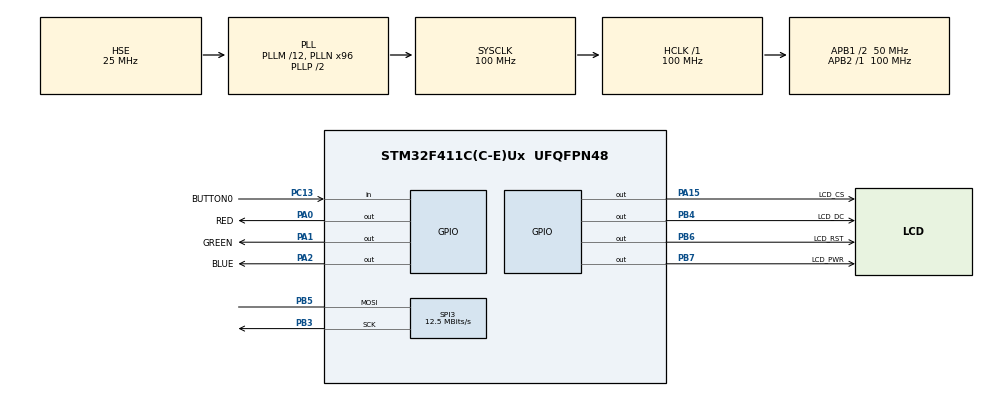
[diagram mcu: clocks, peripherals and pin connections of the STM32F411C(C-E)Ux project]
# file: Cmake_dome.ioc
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FREERTOS.Tasks01=defaultTask,24,128,StartDefaultTask,Default,NULL,Dynamic,NULL,NULL;RGBTask,8,128,RGB_StartTask,Default,NULL,Dynamic,NULL,NULL;LCDTask,8,512,LCD_StartTask,Default,NULL,Dynamic,NULL,NULL
FREERTOS.configENABLE_FPU=1
FREERTOS.configGENERATE_RUN_TIME_STATS=1
FREERTOS.configRECORD_STACK_HIGH_ADDRESS=1
FREERTOS.configUSE_STATS_FORMATTING_FUNCTIONS=1
FREERTOS.configUSE_TICK_HOOK=1
Mcu.Family=STM32F4
Mcu.Name=STM32F411C(C-E)Ux
Mcu.Package=UFQFPN48
NVIC.PriorityGroup=NVIC_PRIORITYGROUP_4
NVIC.TIM1_UP_TIM10_IRQn=true\:15\:0\:false\:false\:true\:false\:false\:true\:true
NVIC.TimeBase=TIM1_UP_TIM10_IRQn
NVIC.TimeBaseIP=TIM1
PA0-WKUP.GPIO_Label=RED
PA0-WKUP.GPIO_PuPd=GPIO_PULLUP
PA0-WKUP.PinState=GPIO_PIN_SET
PA0-WKUP.Signal=GPIO_Output
PA1.GPIO_Label=GREEN
PA1.GPIO_PuPd=GPIO_PULLUP
PA1.PinState=GPIO_PIN_SET
PA1.Signal=GPIO_Output
PA13.Mode=Serial_Wire
PA13.Signal=SYS_JTMS-SWDIO
PA14.Mode=Serial_Wire
PA14.Signal=SYS_JTCK-SWCLK
PA15.GPIO_Label=LCD_CS
PA15.GPIO_PuPd=GPIO_PULLUP
PA15.GPIO_Speed=GPIO_SPEED_FREQ_VERY_HIGH
PA15.Signal=GPIO_Output
PA2.GPIO_Label=BLUE
PA2.GPIO_PuPd=GPIO_PULLUP
PA2.PinState=GPIO_PIN_SET
PA2.Signal=GPIO_Output
PB3.GPIO_PuPd=GPIO_PULLUP
PB3.Mode=Simplex_Bidirectional_Master
PB3.Signal=SPI3_SCK
PB4.GPIO_Label=LCD_DC
PB4.GPIO_PuPd=GPIO_PULLUP
PB4.GPIO_Speed=GPIO_SPEED_FREQ_VERY_HIGH
PB4.Signal=GPIO_Output
PB5.GPIO_PuPd=GPIO_PULLUP
PB5.Mode=Simplex_Bidirectional_Master
PB5.Signal=SPI3_MOSI
PB6.GPIO_Label=LCD_RST
PB6.GPIO_PuPd=GPIO_PULLUP
PB6.GPIO_Speed=GPIO_SPEED_FREQ_VERY_HIGH
PB6.Signal=GPIO_Output
PB7.GPIO_Label=LCD_PWR
PB7.GPIO_PuPd=GPIO_PULLUP
PB7.GPIO_Speed=GPIO_SPEED_FREQ_VERY_HIGH
PB7.Signal=GPIO_Output
PC13-ANTI_TAMP.GPIO_Label=BUTTON0
PC13-ANTI_TAMP.GPIO_PuPd=GPIO_PULLUP
PC13-ANTI_TAMP.Signal=GPIO_Input
PH0\ -\ OSC_IN.Mode=HSE-External-Oscillator
PH0\ -\ OSC_IN.Signal=RCC_OSC_IN
PH1\ -\ OSC_OUT.Mode=HSE-External-Oscillator
PH1\ -\ OSC_OUT.Signal=RCC_OSC_OUT
ProjectManager.HeapSize=0x200
ProjectManager.StackSize=0x400
ProjectManager.TargetToolchain=CMake
RCC.48MHZClocksFreq_Value=50000000
RCC.AHBFreq_Value=100000000
RCC.APB1CLKDivider=RCC_HCLK_DIV2
RCC.APB1Freq_Value=50000000
RCC.APB1TimFreq_Value=100000000
RCC.APB2Freq_Value=100000000
RCC.APB2TimFreq_Value=100000000
RCC.CortexFreq_Value=100000000
RCC.HCLKFreq_Value=100000000
RCC.HSE_VALUE=25000000
RCC.HSI_VALUE=16000000
RCC.PLLM=12
RCC.PLLN=96
RCC.PLLSourceVirtual=RCC_PLLSOURCE_HSE
RCC.SYSCLKFreq_VALUE=100000000
RCC.SYSCLKSource=RCC_SYSCLKSOURCE_PLLCLK
RCC.VCOOutputFreq_Value=200000000
SPI3.BaudRatePrescaler=SPI_BAUDRATEPRESCALER_4
SPI3.CLKPhase=SPI_PHASE_2EDGE
SPI3.CLKPolarity=SPI_POLARITY_HIGH
SPI3.CalculateBaudRate=12.5 MBits/s
SPI3.Direction=SPI_DIRECTION_1LINE
SPI3.Mode=SPI_MODE_MASTER
SPI3.VirtualType=VM_MASTER
VP_FREERTOS_VS_CMSIS_V2.Mode=CMSIS_V2
VP_SYS_VS_tim1.Mode=TIM1
board=custom

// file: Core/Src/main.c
/* USER CODE BEGIN Header */
/**
  ******************************************************************************
  * @file           : main.c
  * @brief          : Main program body
  ******************************************************************************
  * @attention
  *
  * Copyright (c) 2026 STMicroelectronics.
  * All rights reserved.
  *
  * This software is licensed under terms that can be found in the LICENSE file
  * in the root directory of this software component.
  * If no LICENSE file comes with this software, it is provided AS-IS.
  *
  ******************************************************************************
  */
/* USER CODE END Header */
#include "main.h"
#include "cmsis_os.h"
#include "spi.h"
#include "gpio.h"

void SystemClock_Config(void);
void MX_FREERTOS_Init(void);

int main(void)
{

  /* MCU Configuration--------------------------------------------------------*/

  /* Reset of all peripherals, Initializes the Flash interface and the Systick. */
  HAL_Init();

  /* Configure the system clock */
  SystemClock_Config();

  /* Initialize all configured peripherals */
  MX_GPIO_Init();
  MX_SPI3_Init();

  /* Init scheduler */
  osKernelInitialize();  /* Call init function for freertos objects (in cmsis_os2.c) */
  MX_FREERTOS_Init();

  /* Start scheduler */
  osKernelStart();

  /* We should never get here as control is now taken by the scheduler */

  /* Infinite loop */
  while (1)
  {

  }
}

void SystemClock_Config(void)
{
  RCC_OscInitTypeDef RCC_OscInitStruct = {0};
  RCC_ClkInitTypeDef RCC_ClkInitStruct = {0};

  /** Configure the main internal regulator output voltage
  */
  __HAL_RCC_PWR_CLK_ENABLE();
  __HAL_PWR_VOLTAGESCALING_CONFIG(PWR_REGULATOR_VOLTAGE_SCALE1);

  /** Initializes the RCC Oscillators according to the specified parameters
  * in the RCC_OscInitTypeDef structure.
  */
  RCC_OscInitStruct.OscillatorType = RCC_OSCILLATORTYPE_HSE;
  RCC_OscInitStruct.HSEState = RCC_HSE_ON;
  RCC_OscInitStruct.PLL.PLLState = RCC_PLL_ON;
  RCC_OscInitStruct.PLL.PLLSource = RCC_PLLSOURCE_HSE;
  RCC_OscInitStruct.PLL.PLLM = 12;
  RCC_OscInitStruct.PLL.PLLN = 96;
  RCC_OscInitStruct.PLL.PLLP = RCC_PLLP_DIV2;
  RCC_OscInitStruct.PLL.PLLQ = 4;
  if (HAL_RCC_OscConfig(&RCC_OscInitStruct) != HAL_OK)
  {
    Error_Handler();
  }

  /** Initializes the CPU, AHB and APB buses clocks
  */
  RCC_ClkInitStruct.ClockType = RCC_CLOCKTYPE_HCLK|RCC_CLOCKTYPE_SYSCLK
                              |RCC_CLOCKTYPE_PCLK1|RCC_CLOCKTYPE_PCLK2;
  RCC_ClkInitStruct.SYSCLKSource = RCC_SYSCLKSOURCE_PLLCLK;
  RCC_ClkInitStruct.AHBCLKDivider = RCC_SYSCLK_DIV1;
  RCC_ClkInitStruct.APB1CLKDivider = RCC_HCLK_DIV2;
  RCC_ClkInitStruct.APB2CLKDivider = RCC_HCLK_DIV1;

  if (HAL_RCC_ClockConfig(&RCC_ClkInitStruct, FLASH_LATENCY_3) != HAL_OK)
  {
    Error_Handler();
  }
}

void HAL_TIM_PeriodElapsedCallback(TIM_HandleTypeDef *htim)
{
  if (htim->Instance == TIM1)
  {
    HAL_IncTick();
  }
}

void Error_Handler(void)
{
  __disable_irq();
  while (1)
  {
  }
}

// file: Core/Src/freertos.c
/* USER CODE BEGIN Header */
/**
  ******************************************************************************
  * File Name          : freertos.c
  * Description        : Code for freertos applications
  ******************************************************************************
  * @attention
  *
  * Copyright (c) 2026 STMicroelectronics.
  * All rights reserved.
  *
  * This software is licensed under terms that can be found in the LICENSE file
  * in the root directory of this software component.
  * If no LICENSE file comes with this software, it is provided AS-IS.
  *
  ******************************************************************************
  */
/* USER CODE END Header */

#include "FreeRTOS.h"
#include "task.h"
#include "main.h"
#include "cmsis_os.h"

/* USER CODE BEGIN Includes */
#include "RGB.h"
#include "lcd.h"
#include "lcd_anim.h"
/* USER CODE END Includes */

/* USER CODE BEGIN PTD */
extern SPI_HandleTypeDef hspi3;
/* USER CODE END PTD */

/* USER CODE BEGIN Variables */
static uint16_t line_buffer[240];

lcd_io lcd_io_desc = {
    .spi = &hspi3,
    .rst = {LCD_RST_GPIO_Port, LCD_RST_Pin, 0},
    .bl  = {LCD_PWR_GPIO_Port, LCD_PWR_Pin, 0},
    .cs  = {LCD_CS_GPIO_Port, LCD_CS_Pin, 0},
    .dc  = {LCD_DC_GPIO_Port,  LCD_DC_Pin,  0},
    .te  = { /* TE */ }
};

lcd lcd_desc = {
    .io = &lcd_io_desc,
    .line_buffer = line_buffer,
};

extern uint16_t g_gram[];
/* USER CODE END Variables */
/* Definitions for defaultTask */
osThreadId_t defaultTaskHandle;
const osThreadAttr_t defaultTask_attributes = {
  .name = "defaultTask",
  .stack_size = 128 * 4,
  .priority = (osPriority_t) osPriorityNormal,
};
/* Definitions for RGBTask */
osThreadId_t RGBTaskHandle;
const osThreadAttr_t RGBTask_attributes = {
  .name = "RGBTask",
  .stack_size = 128 * 4,
  .priority = (osPriority_t) osPriorityLow,
};
/* Definitions for LCDTask */
osThreadId_t LCDTaskHandle;
const osThreadAttr_t LCDTask_attributes = {
  .name = "LCDTask",
  .stack_size = 512 * 4,
  .priority = (osPriority_t) osPriorityLow,
};

void StartDefaultTask(void *argument);
void RGB_StartTask(void *argument);
void LCD_StartTask(void *argument);

void MX_FREERTOS_Init(void); /* (MISRA C 2004 rule 8.1) */

/* Hook prototypes */
void configureTimerForRunTimeStats(void);
unsigned long getRunTimeCounterValue(void);
void vApplicationTickHook(void);

/* USER CODE BEGIN 1 */
/* Functions needed when configGENERATE_RUN_TIME_STATS is on */
__weak void configureTimerForRunTimeStats(void) {
  CoreDebug->DEMCR |= CoreDebug_DEMCR_TRCENA_Msk;
  DWT->CYCCNT = 0;
  DWT->CTRL |= DWT_CTRL_CYCCNTENA_Msk;
}

__weak unsigned long getRunTimeCounterValue(void) {
  return DWT->CYCCNT;
}
/* USER CODE END 1 */

/* USER CODE BEGIN 3 */
void vApplicationTickHook( void )
{
   /* This function will be called by each tick interrupt if
   configUSE_TICK_HOOK is set to 1 in FreeRTOSConfig.h. User code can be
   added here, but the tick hook is called from an interrupt context, so
   code must not attempt to block, and only the interrupt safe FreeRTOS API
   functions can be used (those that end in FromISR()). */
}
/* USER CODE END 3 */

void MX_FREERTOS_Init(void) {

  /* Create the thread(s) */
  /* creation of defaultTask */
  defaultTaskHandle = osThreadNew(StartDefaultTask, NULL, &defaultTask_attributes);

  /* creation of RGBTask */
  RGBTaskHandle = osThreadNew(RGB_StartTask, NULL, &RGBTask_attributes);

  /* creation of LCDTask */
  LCDTaskHandle = osThreadNew(LCD_StartTask, NULL, &LCDTask_attributes);

}

void StartDefaultTask(void *argument)
{
  for(;;)
  {
    osDelay(1);
  }
}

void RGB_StartTask(void *argument)
{
  /* USER CODE BEGIN RGB_StartTask */
  uint8_t color_index = 0;
  /* Infinite loop */
  for(;;)
  {
    RGB_SetColor(color_index);

    color_index++;
    if(color_index >= 7) {
        color_index = 0;
    }
    osDelay(1000);
  }
  /* USER CODE END RGB_StartTask */
}

void LCD_StartTask(void *argument)
{
  /* USER CODE BEGIN LCD_StartTask */

  lcd_init_dev(&lcd_desc, LCD_1_14_INCH, LCD_ROTATE_90);
  lcd_anim_init_buffer(); // 清空显存

  lcd_anim_cube_t cube1, cube2;
  lcd_anim_cube_init(&cube1, &lcd_desc, 25.0f, RED, 70, 70);
  lcd_anim_cube_init(&cube2, &lcd_desc, 25.0f, LIGHTBLUE, 170, 70);

  uint32_t frame_count = 0;
  uint32_t last_tick = HAL_GetTick();
  uint32_t fps = 0;

  for(;;)
  {
    memset(g_gram, 0, LCD_WIDTH * LCD_HEIGHT * 2);

    lcd_anim_cube_update(&cube1);
    lcd_anim_cube_update(&cube2);

    frame_count++;
    if (HAL_GetTick() - last_tick >= 1000)
    {
        fps = frame_count;
        frame_count = 0;
        last_tick = HAL_GetTick();

        lcd_print_ram(&lcd_desc, 5, 5, "FPS:%d ", fps);
    } else {
        lcd_print_ram(&lcd_desc, 5, 5, "FPS:%d ", fps);
    }

    lcd_anim_flush(&lcd_desc);
    osDelay(1);
  }
  /* USER CODE END LCD_StartTask */
}
